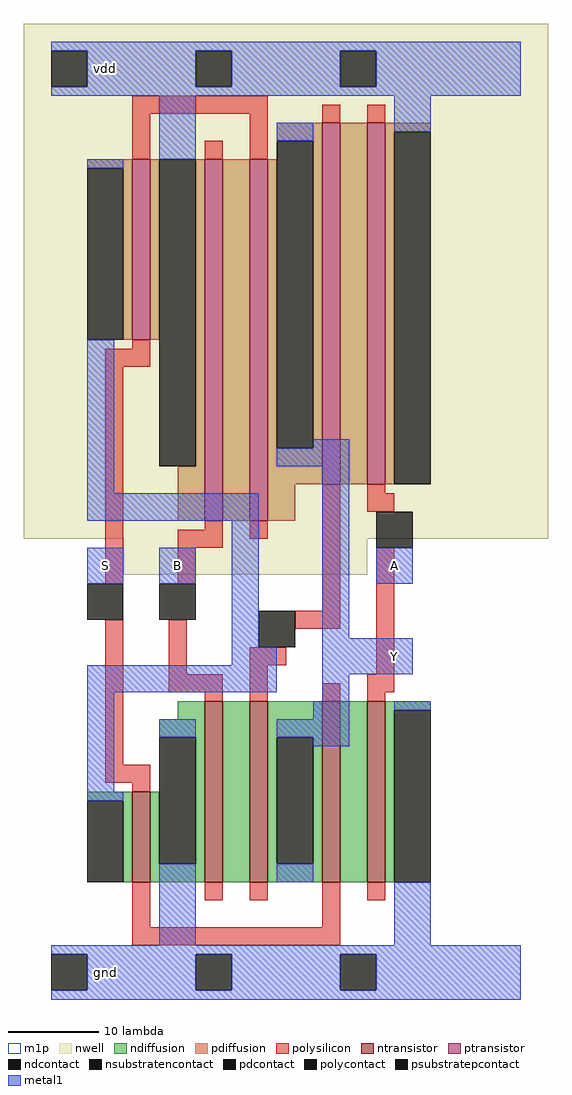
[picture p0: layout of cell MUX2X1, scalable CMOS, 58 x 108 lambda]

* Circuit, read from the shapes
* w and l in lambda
.subckt MUX2X1 A B S Y gnd vdd
M1 gnd S n1 gnd nfet w=10 l=2
M2 n2 B gnd gnd nfet w=20 l=2
M3 Y n1 n2 gnd nfet w=20 l=2
M4 n3 S Y gnd nfet w=20 l=2
M5 gnd A n3 gnd nfet w=20 l=2
M6 vdd S n1 vdd pfet w=20 l=2
M7 n4 B vdd vdd pfet w=40 l=2
M8 Y S n4 vdd pfet w=40 l=2
M9 n5 n1 Y vdd pfet w=40 l=2
M10 vdd A n5 vdd pfet w=40 l=2
.ends

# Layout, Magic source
magic
tech scmos
<< nwell >>
rect -5 48 53 105
rect 6 44 33 48
<< ntransistor >>
rect 7 10 9 20
rect 15 10 17 30
rect 20 10 22 30
rect 28 10 30 30
rect 33 10 35 30
<< ptransistor >>
rect 7 70 9 90
rect 15 50 17 90
rect 20 50 22 90
rect 28 54 30 94
rect 33 54 35 94
<< ndiffusion >>
rect 12 28 15 30
rect 10 26 15 28
rect 2 19 7 20
rect 6 10 7 19
rect 9 12 10 20
rect 14 12 15 26
rect 9 10 15 12
rect 17 10 20 30
rect 22 26 28 30
rect 22 12 23 26
rect 27 12 28 26
rect 22 10 28 12
rect 30 10 33 30
rect 35 29 40 30
rect 35 10 36 29
<< pdiffusion >>
rect 23 92 28 94
rect 2 89 7 90
rect 6 70 7 89
rect 9 70 10 90
rect 14 56 15 90
rect 12 50 15 56
rect 17 50 20 90
rect 22 58 23 90
rect 27 58 28 92
rect 22 54 28 58
rect 30 54 33 94
rect 35 93 40 94
rect 35 54 36 93
rect 22 50 25 54
<< ndcontact >>
rect 2 10 6 19
rect 10 12 14 26
rect 23 12 27 26
rect 36 10 40 29
<< pdcontact >>
rect 2 70 6 89
rect 10 56 14 90
rect 23 58 27 92
rect 36 54 40 93
<< psubstratepcontact >>
rect -2 -2 2 2
rect 14 -2 18 2
rect 30 -2 34 2
<< nsubstratencontact >>
rect -2 98 2 102
rect 14 98 18 102
rect 30 98 34 102
<< polysilicon >>
rect 7 95 22 97
rect 7 90 9 95
rect 15 90 17 92
rect 20 90 22 95
rect 28 94 30 96
rect 33 94 35 96
rect 7 69 9 70
rect 4 67 9 69
rect 4 43 6 67
rect 15 49 17 50
rect 12 47 17 49
rect 20 48 22 50
rect 12 43 14 47
rect 28 40 30 54
rect 33 53 35 54
rect 33 51 36 53
rect 4 23 6 39
rect 11 33 13 39
rect 25 38 30 40
rect 20 34 24 36
rect 11 31 17 33
rect 15 30 17 31
rect 20 30 22 34
rect 34 33 36 47
rect 28 30 30 32
rect 33 31 36 33
rect 33 30 35 31
rect 4 21 9 23
rect 7 20 9 21
rect 7 5 9 10
rect 15 8 17 10
rect 20 8 22 10
rect 28 5 30 10
rect 33 8 35 10
rect 7 3 30 5
<< polycontact >>
rect 2 39 6 43
rect 10 39 14 43
rect 21 36 25 40
rect 34 47 38 51
<< metal1 >>
rect -2 102 50 103
rect 2 98 14 102
rect 18 98 30 102
rect 34 98 50 102
rect -2 97 50 98
rect 10 90 14 97
rect 2 89 6 90
rect 2 53 5 70
rect 23 92 27 94
rect 36 93 40 97
rect 27 58 31 59
rect 23 56 31 58
rect 2 50 21 53
rect 2 43 6 47
rect 10 43 14 47
rect 18 36 21 50
rect 28 37 31 56
rect 34 43 38 47
rect 18 34 23 36
rect 2 31 23 34
rect 28 33 38 37
rect 2 20 5 31
rect 28 30 31 33
rect 27 28 31 30
rect 10 26 14 28
rect 2 19 6 20
rect 10 3 14 12
rect 23 26 31 28
rect 27 25 31 26
rect 36 29 40 30
rect 23 10 27 12
rect 36 3 40 10
rect -2 2 50 3
rect 2 -2 14 2
rect 18 -2 30 2
rect 34 -2 50 2
rect -2 -3 50 -2
<< m1p >>
rect 2 43 6 47
rect 10 43 14 47
rect 34 43 38 47
rect 34 33 38 37
<< labels >>
rlabel metal1 4 45 4 45 4 S
rlabel metal1 4 100 4 100 4 vdd
rlabel metal1 4 0 4 0 4 gnd
rlabel metal1 36 35 36 35 4 Y
rlabel metal1 36 45 36 45 4 A
rlabel metal1 12 45 12 45 4 B
<< end >>
